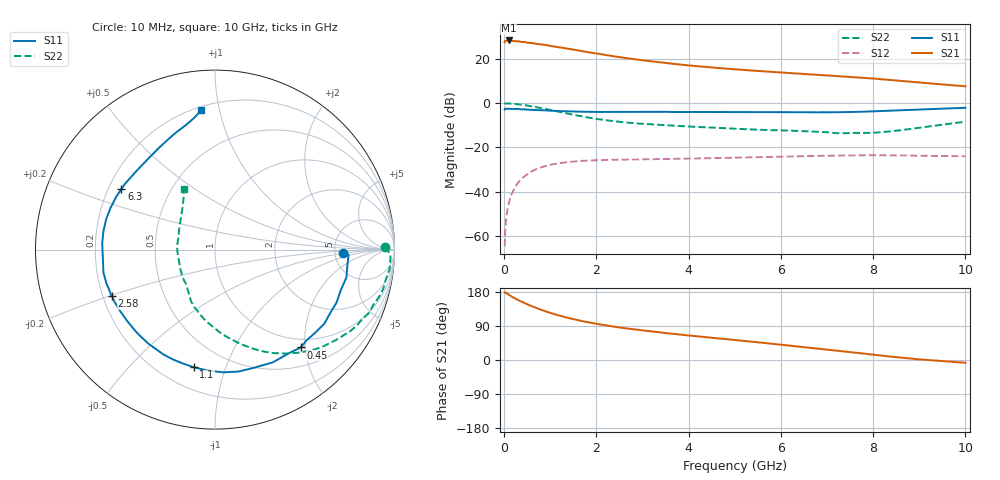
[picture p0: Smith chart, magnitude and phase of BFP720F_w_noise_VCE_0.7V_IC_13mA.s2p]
! Infineon Technologies  Discrete & RF Semiconductors
! BFP720F
! VCE =  0.7 V,  IC =  13 mA
! Common Emitter S-Parameters:  Jan 2016
# GHz  S  MA  R  50
!  f  S11  S21  S12  S22
! GHz  MAG  ANG  MAG  ANG  MAG  ANG  MAG  ANG
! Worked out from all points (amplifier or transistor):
!   233 points, 10 MHz to 10 GHz, reference 50 ohm
!   highest |S21| = 28.2 dB at 100 MHz (marker M1)
!   |S21| within 3 dB of that: start of sweep to 1.166 GHz
!   unconditionally stable (mu >= 1): start of sweep to 16.53 MHz; 6.246 GHz to end of sweep
!   at 200 MHz: K = 0.07, MSG = 33.7 dB, |S12| = -39.4 dB
!   at 1.74 GHz: K = 0.38, MSG = 24.6 dB, |S12| = -26.0 dB
!   at 10 GHz: K = 1.37, MAG = 12.1 dB, |S12| = -24.0 dB
!   lowest NFmin = 0.64 dB at 450 MHz
!   S11 on the Smith chart (normalised r, x): 10 MHz: 5.92, -0.42; 450 MHz: 0.83, -1.91; 1.1 GHz: 0.33, -0.78; 2.58 GHz: 0.24, -0.20; 6.3 GHz: 0.25, +0.28; 10 GHz: 0.22, +0.88
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0.01  0.7124 -1.4  23.41 178.9  0.0006 -6.6  0.9493 1.0
0.02  0.7447 -2.2  25.08 177.9  0.0012 79.9  0.9768 -1.6
0.05  0.7424 -5.8  25.24 176.7  0.0028 87.5  0.9792 -3.0
0.1  0.7483 -11.9  25.62 172.2  0.0055 83.1  0.9787 -6.4
0.15  0.7364 -18.0  24.92 168.5  0.0083 80.1  0.9658 -9.9
0.3  0.7357 -34.1  24.63 158.4  0.016 73.5  0.9341 -19.3
0.36  0.7234 -40.7  23.85 154.8  0.0187 71.0  0.9246 -22.8
0.45  0.7248 -48.8  23.76 149.6  0.0228 66.7  0.8971 -28.0
0.5  0.7095 -54.2  22.84 147.2  0.025 64.6  0.8801 -31.0
0.6  0.7059 -62.9  22.51 142.0  0.0291 60.0  0.8421 -36.7
0.8  0.692 -79.1  21.01 132.5  0.0356 52.5  0.7749 -46.6
1.1  0.6661 -100.2  18.51 120.5  0.0428 42.6  0.6655 -60.1
1.38  0.6514 -115.3  16.74 111.3  0.047 35.5  0.5772 -70.6
1.68  0.6375 -129.5  14.78 103.0  0.0499 29.5  0.4999 -80.9
2.06  0.6297 -142.7  12.74 94.3  0.0519 24.1  0.431 -91.5
2.58  0.6313 -155.8  10.49 84.5  0.0532 18.9  0.3705 -103.0
3.4  0.6339 -167.2  8.175 72.6  0.0548 14.6  0.3217 -113.8
5.1  0.6285 163.1  5.645 51.6  0.0593 9.1  0.2616 -126.6
6.3  0.6211 147.1  4.659 36.6  0.0633 4.7  0.2369 -139.2
6.8  0.6183 139.1  4.311 30.1  0.0647 2.5  0.2244 -147.9
8.4  0.6754 111.1  3.295 8.7  0.0665 -5.7  0.2319 148.9
10  0.7813 95.7  2.38 -7.3  0.0634 -10.1  0.3794 117.0
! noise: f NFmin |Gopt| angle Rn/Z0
0.45  0.64  0.27  2  0.64
0.9  0.67  0.23  8  0.14
1.8  0.7  0.21  11  0.15
2.4  0.72  0.18  18  0.13
5.5  0.88  0.15  30  0.08
10  1.04  0.3  -88  0.19
